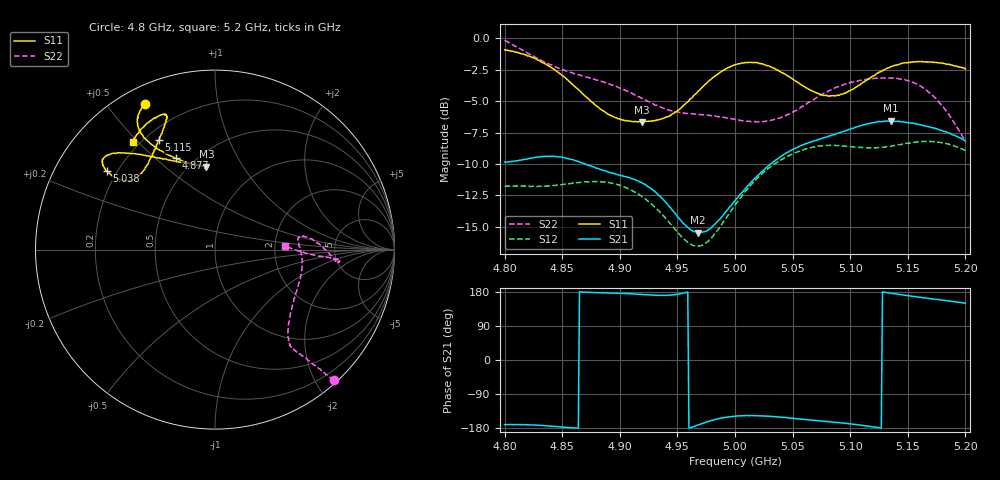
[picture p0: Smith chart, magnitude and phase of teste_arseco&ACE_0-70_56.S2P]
! Network Analyzer HP8722D
! Hewlett-Packard
! Data name: Linha & Wilkinson
! Saver's name: Rodrigo Anjos
! Comments: Teste da utilização de aquisição
! continua pelo VNA HP8722D
! Time and date: 8/5/2025 13:13
!  Frequency  S11  S21  S12  S22
# HZ  S  MA R 50
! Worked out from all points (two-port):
!   401 points, 4.8 GHz to 5.2 GHz, reference 50 ohm
!   highest |S21| = -6.56 dB at 5.135 GHz (marker M1); lowest = -15.5 dB at 4.968 GHz (marker M2)
!   |S21| within 3 dB of the highest: 4.821 GHz to 4.855 GHz (33.69 MHz wide, 0.696 % of centre); 5.038 GHz to end of sweep
!   lowest |S11| = -6.6 dB at 4.919 GHz (marker M3), VSWR 2.74, Z = 29.8 + j35.2 ohm
!   |S11| at or under -10 dB: nowhere
!   |S22| runs from -8.2 to -0.2 dB; largest |S21 - S12| = 0.83
!   S11 on the Smith chart (normalised r, x): 4.8 GHz: 0.07, +0.63; 4.877 GHz: 0.40, +0.59; 5.038 GHz: 0.16, +0.32; 5.115 GHz: 0.25, +0.58; 5.2 GHz: 0.17, +0.48
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4.8e9  0.901 115.5  0.322 -170.7  0.2576 -86.2  0.982 -47.7
4.819e9  0.8593 120.0  0.3308 -170.8  0.2572 -82.0  0.8794 -48.9
4.835e9  0.7942 122.2  0.3392 -173.3  0.2581 -76.6  0.8042 -50.0
4.867e9  0.6067 117.5  0.3197 179.3  0.2675 -67.6  0.7112 -51.6
4.877e9  0.5529 113.0  0.3078 178.0  0.2693 -66.6  0.6894 -52.0
4.901e9  0.4757 100.3  0.2848 176.0  0.2593 -67.3  0.6318 -50.0
4.919e9  0.4651 96.0  0.2671 173.2  0.2348 -69.2  0.5779 -44.7
4.934e9  0.4752 99.5  0.237 170.6  0.2058 -69.7  0.5359 -36.9
4.948e9  0.5094 108.4  0.2012 172.5  0.1735 -66.3  0.5104 -27.9
4.968e9  0.6165 123.2  0.1683 -171.5  0.1488 -47.8  0.4984 -15.0
4.979e9  0.6871 129.2  0.1756 -160.1  0.1597 -35.2  0.4926 -9.4
5e9  0.7865 137.2  0.2259 -148.4  0.2169 -21.4  0.4759 -0.2
5.018e9  0.8011 141.5  0.2795 -146.9  0.2738 -18.7  0.4664 5.9
5.038e9  0.7436 144.1  0.3342 -150.3  0.325 -18.9  0.4817 8.8
5.067e9  0.6184 141.7  0.389 -158.7  0.369 -21.2  0.5662 4.2
5.088e9  0.5921 132.7  0.4176 -164.7  0.3746 -24.4  0.6389 -2.3
5.115e9  0.6856 117.2  0.4573 -174.3  0.3667 -27.2  0.6881 -5.8
5.134e9  0.7649 110.8  0.4685 176.9  0.3711 -29.3  0.6964 -5.2
5.135e9  0.7719 110.9  0.4701 176.5  0.3723 -29.4  0.6967 -5.2
5.164e9  0.8077 112.9  0.4495 164.1  0.3893 -36.7  0.6335 -3.9
5.181e9  0.795 119.2  0.4269 157.7  0.3839 -42.0  0.5324 -2.8
5.2e9  0.7553 127.3  0.3904 149.9  0.3577 -47.1  0.3889 3.3
